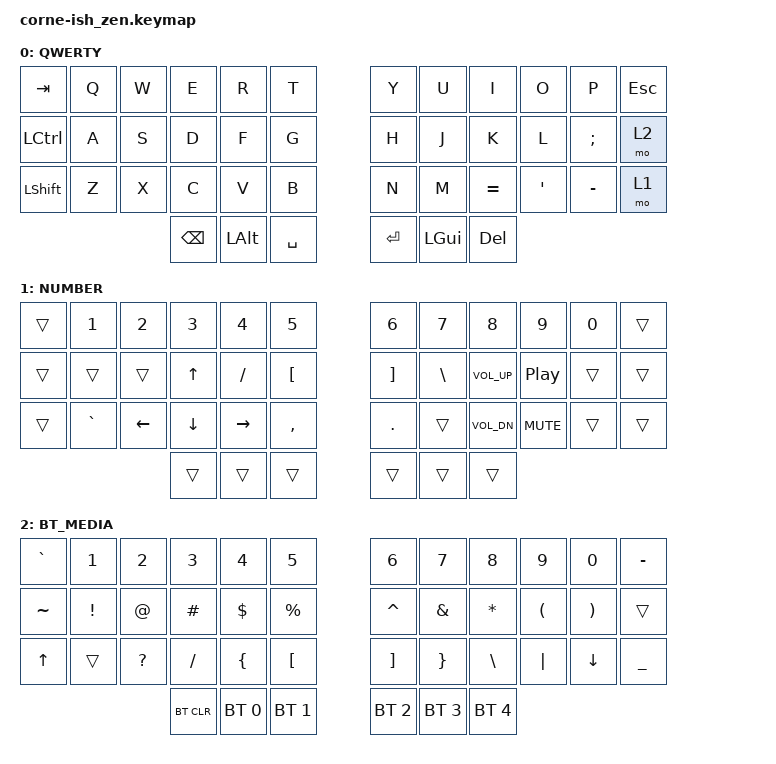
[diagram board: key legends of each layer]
/*
*
* Copyright (c) 2021 Darryl deHaan
* SPDX-License-Identifier: MIT
*
*/

#include <behaviors.dtsi>
#include <dt-bindings/zmk/keys.h>
#include <dt-bindings/zmk/bt.h>

/ {
        keymap {
                compatible = "zmk,keymap";

                default_layer {
                        label = "QWERTY";
// -----------------------------------------------------------------------------------------
// |  TAB |  Q  |  W  |  E   |  R  |  T  |   |  Y  |  U   |  I  |  O  |  P  | ESC  |
// | CTRL |  A  |  S  |  D   |  F  |  G  |   |  H  |  J   |  K  |  L  |  ;  | RSE  |
// | SHFT |  Z  |  X  |  C   |  V  |  B  |   |  N  |  M   |  =  |  '  |  -  | LWR  |
//                    | BSPC | ALT | SPC |   | ENT | LGUI | DEL |
                        bindings = <
   &kp TAB   &kp Q &kp W &kp E &kp R &kp T   &kp Y &kp U  &kp I     &kp O   &kp P     &kp ESC
   &kp LCTRL &kp A &kp S &kp D &kp F &kp G   &kp H &kp J  &kp K     &kp L   &kp SEMI  &mo  2
   &kp LSHFT &kp Z &kp X &kp C &kp V &kp B   &kp N &kp M  &kp EQUAL &kp SQT &kp MINUS &mo  1
               &kp BSPC &kp LALT &kp SPACE   &kp RET &kp LGUI &kp DEL
                        >;
                };
                lower_layer {
                        label = "NUMBER";
// -----------------------------------------------------------------------------------------
// |   |  1  |  2  |  3  |  4  |  5  |   |  6  |  7  |  8  |  9  |  0  |      |
// |   |     |     |  UP |  /  |  [  |   |  ]  |  \  | VUP |PL_PS|     |      |
// |   |  `  | LFT | DWN | RGT |  ,  |   |  .  |     | VDN |MUTE |     |      |
//                 |     |     |     |   |     |     |     |
                        bindings = <
   &trans  &kp N1     &kp N2    &kp N3    &kp N4     &kp N5       &kp N6    &kp N7    &kp N8        &kp N9      &kp N0  &trans
   &trans  &trans     &trans    &kp UP    &kp FSLH   &kp LBKT     &kp RBKT  &kp BSLH  &kp C_VOL_UP  &kp C_PP    &trans  &trans
   &trans  &kp GRAVE  &kp LEFT  &kp DOWN  &kp RIGHT  &kp COMMA    &kp DOT   &trans    &kp C_VOL_DN  &kp K_MUTE  &trans  &trans
                                &trans    &trans     &trans       &trans    &trans    &trans
                        >;
                };

                raise_layer {
                        label = "BT_MEDIA";
// -----------------------------------------------------------------------------------------
// |  `  |  1  |  2  |  3   |  4    |  5    |       |  6  |  7  |  8  |  9  |  0  |   -  |
// |  ~  |  !  |  @  |  #   |  $    |  %    |       |  ^  |  &  |  *  |  (  |  )  |      |
// |  UP |     |  ?  |  /   |  {    |  [    |       |  ]  |  }  |  \  |  |  | DWN |   _  |
//                   |BT_CLR|BT_SEL1|BT_SEL2|       |BT_SEL3|BT_SEL4|BT_SEL5|
                        bindings = <
   &kp GRAVE  &kp N1   &kp N2    &kp N3    &kp N4     &kp N5        &kp N6    &kp N7    &kp N8    &kp N9    &kp N0    &kp MINUS
   &kp TILDE  &kp EXCL &kp AT    &kp HASH  &kp DLLR   &kp PRCNT     &kp CARET &kp AMPS  &kp STAR  &kp LPAR  &kp RPAR  &trans 
   &kp UP     &trans   &kp QMARK &kp FSLH  &kp LBRC   &kp LBKT      &kp RBKT  &kp RBRC  &kp BSLH  &kp PIPE  &kp DOWN  &kp UNDER
                    	&bt  BT_CLR  &bt BT_SEL 0 &bt BT_SEL 1      &bt BT_SEL 2 &bt BT_SEL 3 &bt BT_SEL 4
                        >;
                };
        };
};
